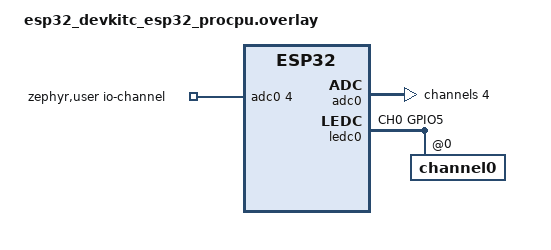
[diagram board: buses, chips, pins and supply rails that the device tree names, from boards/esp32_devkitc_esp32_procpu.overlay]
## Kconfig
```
mainmenu "Brake controller"



config WIFI_SSID
	string "WiFi SSID"
	help
	  SSID of the WiFi network to connect to.

config WIFI_PSK
	string "WiFi Password"
	help
	  WPA2-PSK password for the WiFi network.



config NET_SAMPLE_MQTT_BROKER_HOSTNAME
	string "Hostname of MQTT broker"
	default "test.mosquitto.org"
	help
	  MQTT broker's hostname or IP address.

config NET_SAMPLE_MQTT_BROKER_PORT
	string "MQTT Broker Connection Port"
	default "1883"
	help
	  Port through which the application should connect to the MQTT broker.

config NET_SAMPLE_MQTT_PUB_TOPIC
	string "The MQTT topic the application should publish data to"
	default "brake/state"

config NET_SAMPLE_MQTT_SUB_TOPIC_CMD
	string "The MQTT topic the application will receive commands on"
	default "brake/request"

config NET_SAMPLE_MQTT_PUBLISH_INTERVAL_MS
	int "Interval between MQTT publishes (in ms)"
	default 3
	help
	  This config determines the frequency at which MQTT publishes occur.

choice NET_SAMPLE_MQTT_QOS
	prompt "Quality of Service level used for MQTT publish and subscribe"
	default NET_SAMPLE_MQTT_QOS_1_AT_LEAST_ONCE

config NET_SAMPLE_MQTT_QOS_0_AT_MOST_ONCE
	bool "QoS 0 / At most once delivery"
	help
	  No acknowledgment needed for published message.

config NET_SAMPLE_MQTT_QOS_1_AT_LEAST_ONCE
	bool "QoS 1 / At least once delivery"
	help
	  If acknowledgment expected for published message, duplicate messages permitted.

config NET_SAMPLE_MQTT_QOS_2_EXACTLY_ONCE
	bool "QoS 2 / Exactly once delivery"
	help
	   Acknowledgment expected and message shall be published only once.

endchoice

config NET_SAMPLE_MQTT_PAYLOAD_SIZE
	int "Size of MQTT payload in bytes"
	default 128

source "Kconfig.zephyr"
```

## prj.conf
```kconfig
# Bluetooth
CONFIG_BT=y
CONFIG_BT_PERIPHERAL=y
CONFIG_BT_DEVICE_NAME="BrakeController"
CONFIG_BT_DEVICE_APPEARANCE=0
CONFIG_BT_MAX_CONN=1
CONFIG_BT_ATT_PREPARE_COUNT=2
CONFIG_BT_ZEPHYR_NUS=y
CONFIG_BT_OBSERVER=y
CONFIG_BT_GATT_CLIENT=y

#Enable JSON
CONFIG_JSON_LIBRARY=y

# Enables extension of data packets to be max size
CONFIG_BT_USER_DATA_LEN_UPDATE=y
CONFIG_BT_CTLR_DATA_LENGTH_MAX=251
CONFIG_BT_BUF_ACL_RX_SIZE=251
CONFIG_BT_BUF_ACL_TX_SIZE=251
CONFIG_BT_L2CAP_TX_MTU=247


# Larger MTU so JSON payloads fit in one packet
CONFIG_BT_L2CAP_TX_MTU=247
CONFIG_BT_BUF_ACL_RX_SIZE=251

# JSON
CONFIG_JSON_LIBRARY=y

# ADC
CONFIG_ADC=y

# PWM
CONFIG_PWM=y

# Logging
CONFIG_LOG=y
CONFIG_LOG_DEFAULT_LEVEL=3

# UART
CONFIG_SERIAL=y
CONFIG_UART_INTERRUPT_DRIVEN=y
CONFIG_UART_LINE_CTRL=y

# Stack sizes for nRF52840
CONFIG_MAIN_STACK_SIZE=4096
CONFIG_SYSTEM_WORKQUEUE_STACK_SIZE=2048
```

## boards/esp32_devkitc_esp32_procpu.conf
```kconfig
# Required to get an IP address from DHCP
CONFIG_ESP32_WIFI_STA_AUTO_DHCPV4=y

# Use system heap (instead of runtime) for WiFi
CONFIG_ESP_WIFI_HEAP_SYSTEM=y
CONFIG_HEAP_MEM_POOL_SIZE=51200
```

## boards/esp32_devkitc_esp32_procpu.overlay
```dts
/ {
    zephyr,user {
        io-channels = <&adc0 4>;
    };
};

&adc0 {
    status = "okay";
    #address-cells = <1>;
    #size-cells = <0>;
    channel@4 {
        reg = <4>;
        zephyr,gain = "ADC_GAIN_1_4";
        zephyr,reference = "ADC_REF_INTERNAL";
        zephyr,acquisition-time = <ADC_ACQ_TIME_DEFAULT>;
        zephyr,resolution = <12>;
    };
};

&pinctrl {
    ledc0_custom: ledc0_custom {
        group1 {
            pinmux = <LEDC_CH0_GPIO5>;
            output-enable;
        };
    };
};

&ledc0 {
    pinctrl-0 = <&ledc0_custom>;
    pinctrl-names = "default";
    status = "okay";
    #address-cells = <1>;
    #size-cells = <0>;

    channel0@0 {
        reg = <0x0>;
        timer = <0>;
    };
};
```

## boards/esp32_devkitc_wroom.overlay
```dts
/ {
    zephyr,user {
        io-channels = <&adc0 0>;
    };
};

&adc0 {
    status = "okay";
    #address-cells = <1>;
    #size-cells = <0>;

    channel@0 {
        reg = <0>;
        zephyr,gain = "ADC_GAIN_1_4";
        zephyr,reference = "ADC_REF_INTERNAL";
        zephyr,acquisition-time = <ADC_ACQ_TIME_DEFAULT>;
        zephyr,resolution = <12>;
    };
};

&pinctrl {
    ledc0_custom: ledc0_custom {
        group1 {
            pinmux = <LEDC_CH0_GPIO5>;
            output-enable;
        };
    };
};

&ledc0 {
    pinctrl-0 = <&ledc0_custom>;
    pinctrl-names = "default";
    status = "okay";
    #address-cells = <1>;
    #size-cells = <0>;

    channel0@0 {
        reg = <0x0>;
        timer = <0>;
    };
};
```

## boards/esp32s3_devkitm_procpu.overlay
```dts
&wifi {
    status = "okay";
};

/ {
	zephyr,user {
		io-channels = <&adc0 0>;
	};
};

&adc0 {
	status = "okay";
	#address-cells = <1>;
	#size-cells = <0>;

	channel@0 {
		reg = <0>;
		zephyr,gain = "ADC_GAIN_1_4";
		zephyr,reference = "ADC_REF_INTERNAL";
		zephyr,acquisition-time = <ADC_ACQ_TIME_DEFAULT>;
		zephyr,resolution = <12>;
	};
};


&pinctrl {
    ledc0_custom: ledc0_custom {
        group1 {
            pinmux = <LEDC_CH0_GPIO5>;
            output-enable;
        };
    };
};

&ledc0 {
    pinctrl-0 = <&ledc0_custom>;
    pinctrl-names = "default";
    status = "okay";
    #address-cells = <1>;
    #size-cells = <0>;

    channel0@0 {
        reg = <0x0>;
        timer = <0>;
    };
};
```

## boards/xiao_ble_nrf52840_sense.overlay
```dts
/ {
    zephyr,user {
        /* AIN1 = P0.03 (XIAO pin A1) – potentiometer wiper */
        io-channels = <&adc 1>;
    };

    chosen {
        zephyr,shell-uart = &uart0;
    };
};

&adc {
    status = "okay";
    #address-cells = <1>;
    #size-cells = <0>;

    channel@1 {
        reg = <1>;
        zephyr,gain = "ADC_GAIN_1_6";
        zephyr,reference = "ADC_REF_INTERNAL";
        zephyr,acquisition-time = <ADC_ACQ_TIME_DEFAULT>;
        zephyr,input-positive = <NRF_SAADC_AIN1>; /* P0.03 */
        zephyr,resolution = <12>;
    };
};

/* PWM0 on P0.02 (XIAO pin A0/D0) – servo signal */
&pwm0 {
    status = "okay";
    pinctrl-0 = <&pwm0_default>;
    pinctrl-1 = <&pwm0_sleep>;
    pinctrl-names = "default", "sleep";
};

&pinctrl {
    pwm0_default: pwm0_default {
        group1 {
            psels = <NRF_PSEL(PWM_OUT0, 0, 2)>; /* P0.02 */
        };
    };
    pwm0_sleep: pwm0_sleep {
        group1 {
            psels = <NRF_PSEL(PWM_OUT0, 0, 2)>;
            low-power-enable;
        };
    };
};
```

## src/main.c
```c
#include <zephyr/kernel.h>
#include <zephyr/logging/log.h>

#include "ble_service.h"
#include "brake.h"
#include "request_handler.h"
#include "uart.h"

LOG_MODULE_REGISTER(main, LOG_LEVEL_INF);

int main(void)
{
    char tx_buf[MSG_SIZE] = { 0 };
    int ret = 0;

    printk("Starting in...\n");
    for (int i = 5; i > 0; i--) {
        printk("%i\n", i);
        k_sleep(K_MSEC(1000));
    }

    printk("BRAKE CONTROLLER\n");

    printk("Initialising brake\n");
    int error = brake_init();
    if (error) {
        printk("Brake init failed [error: %i]\n", error);
        return error;
    }
    brake_set(0);

    printk("Initialising UART\n");
    error = uart_init();
    if (error) {
        printk("UART init failed [error: %i]\n", error);
        return error;
    }

    printk("Initialising BLE\n");
    error = ble_service_init();
    if (error) {
        printk("BLE init failed [error: %i]\n", error);
        return error;
    }

    printk("Waiting for BLE connection…\n");

    struct brake_request request = { 0 };

    while (1) {
        if (k_msgq_get(&uart_msgq, &tx_buf, K_NO_WAIT) == 0) {
            printk("UART Received: %s\n", &tx_buf);
            error = handle_request(tx_buf, sizeof(tx_buf));
            if (error) {
                LOG_WRN("UART handle_request() failed");
            }
        }

        if (!ble_connected) {
            //printk("Not connected. Trying again\n");
            k_msleep(500);
            continue;
        }

        ret = k_msgq_get(&requests, &request, K_MSEC(600));
        if (ret != 0) {
            (void)ble_service_notify_state();
            continue;
        }

        printk("Received request from %s (percentage: %i)\n",
               request.sender, request.percentage);

        /* Apply the requested brake percentage and notify */
        (void)brake_set(request.percentage);
        (void)ble_service_notify_state();
    }

    return 0;
}
```

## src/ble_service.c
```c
#include <zephyr/logging/log.h>
LOG_MODULE_REGISTER(ble_service, LOG_LEVEL_DBG);

#include <zephyr/kernel.h>
#include <zephyr/bluetooth/bluetooth.h>
#include <zephyr/bluetooth/hci.h>
#include <zephyr/bluetooth/conn.h>
#include <zephyr/bluetooth/gatt.h>
#include <zephyr/bluetooth/services/nus.h>
#include <zephyr/data/json.h>
#include <string.h>

#include "ble_service.h"
#include "request_handler.h"
#include "brake.h"

#define DEVICE_NAME     CONFIG_BT_DEVICE_NAME
#define DEVICE_NAME_LEN (sizeof(DEVICE_NAME) - 1)

/* connection status flag */
volatile bool ble_connected = false;

static struct bt_conn *current_conn = NULL;
static struct bt_gatt_exchange_params mtu_params;

/* nus notifications enabled flag */
static bool notifications_enabled = false;

/* work item. defers bt_nus_send() out of nus/ble callback context */
static struct k_work notify_work;

/* tx buffer for json-encoded brake state */
static char tx_buf[128];

struct brake_state_json {
    char *message_type;
    int   data;
};

static const struct json_obj_descr brake_state_descr[] = {
    JSON_OBJ_DESCR_PRIM(struct brake_state_json, message_type, JSON_TOK_STRING),
    JSON_OBJ_DESCR_PRIM(struct brake_state_json, data,         JSON_TOK_NUMBER),
};

static const struct bt_data ad[] = {
    BT_DATA_BYTES(BT_DATA_FLAGS, (BT_LE_AD_GENERAL | BT_LE_AD_NO_BREDR)),
    BT_DATA(BT_DATA_NAME_COMPLETE, DEVICE_NAME, DEVICE_NAME_LEN),
};

static const struct bt_data sd[] = {
    BT_DATA_BYTES(BT_DATA_UUID128_ALL, BT_UUID_NUS_SRV_VAL),
};

static void do_notify(struct k_work *work)
{
    ARG_UNUSED(work);

    if (!notifications_enabled) {
        return;
    }

    struct brake_state_json state = {
        .message_type = "brake state",
        .data         = brake_get(),
    };

    int rc = json_obj_encode_buf(
                brake_state_descr,
                ARRAY_SIZE(brake_state_descr),
                &state,
                tx_buf,
                sizeof(tx_buf));
    if (rc != 0) {
        LOG_ERR("JSON encode failed [%d]", rc);
        return;
    }

    rc = bt_nus_send(NULL, tx_buf, strlen(tx_buf));
    if (rc < 0 && rc != -EAGAIN && rc != -ENOTCONN) {
        LOG_ERR("NUS send failed [%d]", rc);
    } else if (rc == 0) {
        LOG_INF("NUS sent: %s", tx_buf);
    }
}

static void on_nus_notif_enabled(bool enabled, void *ctx)
{
    ARG_UNUSED(ctx);
    notifications_enabled = enabled;
    LOG_INF("NUS notifications %s", enabled ? "enabled" : "disabled");

    /* Send an immediate state update when the central subscribes */
    if (enabled) {
        k_work_submit(&notify_work);
    }
}

static void on_nus_received(struct bt_conn *conn, const void *data,
                            uint16_t len, void *ctx)
{
    ARG_UNUSED(conn);
    ARG_UNUSED(ctx);

    /* Copy into a null-terminated buffer for handle_request() */
    char payload[256];
    if (len >= sizeof(payload)) {
        LOG_WRN("RX too large (%u bytes), truncating", len);
        len = sizeof(payload) - 1;
    }
    memcpy(payload, data, len);
    payload[len] = '\0';

    LOG_INF("NUS RX: %s", payload);
    (void)handle_request(payload, (size_t)len + 1);
}

static struct bt_nus_cb nus_cb = {
    .notif_enabled = on_nus_notif_enabled,
    .received      = on_nus_received,
};

static void mtu_exchange_cb(struct bt_conn *conn, uint8_t att_err,
                            struct bt_gatt_exchange_params *params)
{
    if (att_err == 0) {
        LOG_INF("MTU exchanged: %u", bt_gatt_get_mtu(conn));
    } else {
        LOG_WRN("MTU exchange failed (err %u)", att_err);
    }
}

static void on_connected(struct bt_conn *conn, uint8_t err)
{
    if (err) {
        LOG_ERR("BLE connection failed (err %u)", err);
        return;
    }

    current_conn = bt_conn_ref(conn);
    ble_connected = true;
    LOG_INF("BLE central connected");

    /* Request a larger MTU so JSON payloads fit in one packet */
    mtu_params.func = mtu_exchange_cb;
    bt_gatt_exchange_mtu(conn, &mtu_params);
}

static void on_disconnected(struct bt_conn *conn, uint8_t reason)
{
    LOG_INF("BLE central disconnected (reason 0x%02x)", reason);

    if (current_conn) {
        bt_conn_unref(current_conn);
        current_conn = NULL;
    }

    ble_connected         = false;
    notifications_enabled = false;

    /* Restart advertising */
    int rc = bt_le_adv_start(BT_LE_ADV_CONN_FAST_1,
                             ad, ARRAY_SIZE(ad),
                             sd, ARRAY_SIZE(sd));
    if (rc != 0) {
        LOG_ERR("Failed to restart advertising [%d]", rc);
    } else {
        LOG_INF("Advertising restarted");
    }
}

BT_CONN_CB_DEFINE(conn_callbacks) = {
    .connected    = on_connected,
    .disconnected = on_disconnected,
};

int ble_service_notify_state(void)
{
    k_work_submit(&notify_work);
    return 0;
}

int ble_service_init(void)
{
    int rc;

    k_work_init(&notify_work, do_notify);

    /* Register NUS callbacks before enabling BT */
    rc = bt_nus_cb_register(&nus_cb, NULL);
    if (rc != 0) {
        LOG_ERR("Failed to register NUS callbacks [%d]", rc);
        return rc;
    }

    rc = bt_enable(NULL);
    if (rc != 0) {
        LOG_ERR("Bluetooth enable failed [%d]", rc);
        return rc;
    }
    LOG_INF("Bluetooth initialised");

    rc = bt_le_adv_start(BT_LE_ADV_CONN_FAST_1,
                         ad, ARRAY_SIZE(ad),
                         sd, ARRAY_SIZE(sd));
    if (rc != 0) {
        LOG_ERR("Advertising start failed [%d]", rc);
        return rc;
    }

    LOG_INF("Advertising as \"%s\"", DEVICE_NAME);
    return 0;
}
```

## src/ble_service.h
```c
#ifndef __BLE_SERVICE_H__
#define __BLE_SERVICE_H__

#include <stdbool.h>

int ble_service_init(void);

int ble_service_notify_state(void);

extern volatile bool ble_connected; /* true while a central is connected. */

#endif /* __BLE_SERVICE_H__ */
```

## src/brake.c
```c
#include <zephyr/kernel.h>
#include <zephyr/logging/log.h>
#include <zephyr/sys/atomic.h>
#include <zephyr/device.h>
#include <zephyr/drivers/pwm.h>
#include <zephyr/drivers/adc.h>
#include "brake.h"

LOG_MODULE_REGISTER(brake_controller, LOG_LEVEL_NONE);

#define BRAKE_THREAD_STACK_SIZE 2048
#define BRAKE_THREAD_PRIORITY   5

K_THREAD_STACK_DEFINE(brake_thread_stack, BRAKE_THREAD_STACK_SIZE);
static struct k_thread brake_thread_data;
static k_tid_t brake_tid = NULL;

#define PWM_NODE    DT_NODELABEL(pwm0)
#define PWM_CHANNEL 0
#define PWM_PERIOD  PWM_MSEC(20)

#define MILLIVOLTS_TO_PERCENTAGE_MAX 1700
#define MILLIVOLTS_TO_PERCENTAGE_MIN 950

static const struct device *const servo = DEVICE_DT_GET(PWM_NODE);

static const struct adc_dt_spec pot = ADC_DT_SPEC_GET(DT_PATH(zephyr_user));

/* desired brake percentage set with brake_set */
static atomic_t desired_percentage = ATOMIC_INIT(0);
static atomic_t actual_percentage = ATOMIC_INIT(0);

static uint32_t percentage_to_pulse(int pct)
{
    return (pct != 0) ? PWM_PERIOD / 20 : 0;
}

static uint32_t millivolts_to_percentage(uint32_t millivolts)
{
    uint32_t ret = 0;
    LOG_INF("Recieved: %i\n", millivolts);

    if (millivolts <= MILLIVOLTS_TO_PERCENTAGE_MIN) {
        ret = 0;
        LOG_INF("ret: %i", ret);
        return ret;
    }

    if (millivolts >= MILLIVOLTS_TO_PERCENTAGE_MAX) {
        ret = 100;
        LOG_INF("ret: %i", ret);
        return ret;
    }

    ret = ((millivolts - MILLIVOLTS_TO_PERCENTAGE_MIN) * 100) / (MILLIVOLTS_TO_PERCENTAGE_MAX - MILLIVOLTS_TO_PERCENTAGE_MIN);
    LOG_INF("ret: %i", ret);
    return ret;
}

static void brake_thread(void *arg1, void *arg2, void *arg3)
{
    int error = 0;
    uint32_t count = 0;
    uint16_t adc_buf;
    struct adc_sequence sequence = {
        .buffer      = &adc_buf,
        .buffer_size = sizeof(adc_buf),
    };

    (void)adc_sequence_init_dt(&pot, &sequence);

    while (1) {
        int32_t val_raw = 0, val_mv = 0;
        int brake_pct = (int)atomic_get(&desired_percentage);

        LOG_INF("ADC reading[%u]: %s ch%d",
                count++, pot.dev->name, pot.channel_id);

        error = adc_read_dt(&pot, &sequence);
        if (error < 0) {
            LOG_WRN("Could not read ADC (%d)", error);
            k_sleep(K_MSEC(100));
            continue;
        }

        val_raw = pot.channel_cfg.differential
                ? (int32_t)((int16_t)adc_buf)
                : (int32_t)adc_buf;
        val_mv = val_raw;

        error = adc_raw_to_millivolts_dt(&pot, &val_mv);
        if (error < 0) {
            LOG_INF("raw=%" PRId32 " (mV unavailable)", val_raw);
        } else {
            LOG_INF("raw=%" PRId32 " = %" PRId32 " mV", val_raw, val_mv);
        }

        uint32_t pulse = percentage_to_pulse(brake_pct);
        (void) atomic_set(&actual_percentage, (atomic_val_t)millivolts_to_percentage(val_mv));

        error = pwm_set(servo, PWM_CHANNEL, PWM_PERIOD, pulse, 0);
        if (error) {
            LOG_ERR("pwm_set failed [%d]", error);
        }

        k_sleep(K_MSEC(100));
    }
}

int brake_init(void)
{
    int error = 0;

    if (!device_is_ready(servo)) {
        LOG_ERR("PWM servo device is not ready");
        return -ENODEV;
    }

    if (!adc_is_ready_dt(&pot)) {
        LOG_ERR("Potentiometer ADC device is not ready");
        return -ENODEV;
    }

    error = adc_channel_setup_dt(&pot);
    if (error) {
        LOG_ERR("Could not setup ADC channel (%d)", error);
        return error;
    }

    if (brake_tid != NULL) {
        LOG_WRN("brake_init() called again – thread already running");
        return -EALREADY;
    }

    brake_tid = k_thread_create(
        &brake_thread_data,
        brake_thread_stack,
        K_THREAD_STACK_SIZEOF(brake_thread_stack),
        brake_thread,
        NULL, NULL, NULL,
        BRAKE_THREAD_PRIORITY, 0, K_NO_WAIT);

    if (brake_tid == NULL) {
        LOG_ERR("Failed to create brake thread");
        return -ENOMEM;
    }

    k_thread_name_set(brake_tid, "brake_ctrl");
    LOG_INF("Brake thread started (tid=%p)", brake_tid);

    return 0;
}

int brake_stop(void)
{
    if (brake_tid == NULL) {
        LOG_WRN("brake_stop() called but thread is not running");
        return -EINVAL;
    }

    k_thread_abort(brake_tid);

    int error = k_thread_join(brake_tid, K_MSEC(2000));
    if (error) {
        LOG_ERR("Thread did not stop cleanly (%d)", error);
        return error;
    }

    brake_tid = NULL;
    LOG_INF("Brake thread stopped");
    return 0;
}

int brake_set(int percentage)
{
    return (int)atomic_set(&desired_percentage, (atomic_val_t)percentage);
}

int brake_get(void)
{
    return (int)atomic_get(&actual_percentage);
}
```

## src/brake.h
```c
#ifndef __BRAKE_H__
#define __BRAKE_H__


/* initialise brake and appropriate devices */
int brake_init(void);

/* set the desired brake percentage. returns old percentage */
int brake_set(int percentage);

/* reads actual brake percentage */
int brake_get(void);

#endif /* __BRAKE_H__ */
```

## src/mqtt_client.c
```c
#include <zephyr/logging/log.h>
LOG_MODULE_REGISTER(app_mqtt, LOG_LEVEL_DBG);

#include <zephyr/kernel.h>
#include <zephyr/net/socket.h>
#include <zephyr/net/mqtt.h>
#include <zephyr/data/json.h>
#include <zephyr/random/random.h>

#include "request_handler.h"
#include "mqtt_client.h"
#include "brake.h"

/* Buffers for MQTT client */
static uint8_t rx_buffer[CONFIG_NET_SAMPLE_MQTT_PAYLOAD_SIZE];
static uint8_t tx_buffer[CONFIG_NET_SAMPLE_MQTT_PAYLOAD_SIZE];

/* MQTT payload buffer */
static uint8_t payload_buf[CONFIG_NET_SAMPLE_MQTT_PAYLOAD_SIZE];

/* MQTT broker details */
static struct sockaddr_storage broker;

/* Socket descriptor */
static struct zsock_pollfd fds[1];
static int nfds;


/* semaphore used to request publishing in app_mqtt_run */
K_SEM_DEFINE(mqtt_publish_req, 0, 1);


/* JSON brake state format */
struct brake_state {
    char *message_type;     /* should always be "brake state" */
    int data;               /* brake percentage */
};

static const struct json_obj_descr brake_state_json[] = {
    JSON_OBJ_DESCR_PRIM(struct brake_state, message_type, JSON_TOK_STRING),
    JSON_OBJ_DESCR_PRIM(struct brake_state, data, JSON_TOK_NUMBER),
};

/* MQTT connectivity status flag */
bool mqtt_connected;

/* MQTT client ID buffer */
static uint8_t client_id[50];


static void prepare_fds(struct mqtt_client *client)
{
    if (client->transport.type == MQTT_TRANSPORT_NON_SECURE) {
        fds[0].fd = client->transport.tcp.sock;
    }

    fds[0].events = ZSOCK_POLLIN;
    nfds = 1;
}

static void clear_fds(void)
{
    nfds = 0;
}

/** Initialise the MQTT client ID as the board name with random hex postfix */
static void init_mqtt_client_id(void)
{
    snprintk(client_id, sizeof(client_id), CONFIG_BOARD"_%x", (uint8_t)sys_rand32_get());
}

static inline void on_mqtt_connect(void)
{
    mqtt_connected = true;
    //device_write_led(LED_NET, LED_ON);
    LOG_INF("Connected to MQTT broker!");
    LOG_INF("Hostname: %s", CONFIG_NET_SAMPLE_MQTT_BROKER_HOSTNAME);
    LOG_INF("Client ID: %s", client_id);
    LOG_INF("Port: %s", CONFIG_NET_SAMPLE_MQTT_BROKER_PORT);
    //LOG_INF("TLS: %s",
    //  IS_ENABLED(CONFIG_MQTT_LIB_TLS) ? "Enabled" : "Disabled");
}

static inline void on_mqtt_disconnect(void)
{
    mqtt_connected = false;
    clear_fds();
    //device_write_led(LED_NET, LED_OFF);
    LOG_INF("Disconnected from MQTT broker");
}

//static void handle_

/** Called when an MQTT payload is received.
 *  Reads the payload and calls the commands
 *  handler if a payloads is received on the
 *  command topic
 */
static void on_mqtt_publish(struct mqtt_client *const client, const struct mqtt_evt *evt)
{
    int rc;
    uint8_t payload[CONFIG_NET_SAMPLE_MQTT_PAYLOAD_SIZE];

    rc = mqtt_read_publish_payload(client, payload,
                    CONFIG_NET_SAMPLE_MQTT_PAYLOAD_SIZE);
    if (rc < 0) {
        LOG_ERR("Failed to read received MQTT payload [%d]", rc);
        return;
    }
    /* Place null terminator at end of payload buffer */
    payload[rc] = '\0';

    LOG_INF("MQTT payload received!");
    LOG_INF("topic: '%s', payload: %s",
        evt->param.publish.message.topic.topic.utf8, payload);

    /* If the topic is a command, call the command handler  */
    if (strcmp(evt->param.publish.message.topic.topic.utf8,
            CONFIG_NET_SAMPLE_MQTT_SUB_TOPIC_CMD) == 0) {
        (void) handle_request(payload, sizeof(payload));
    }
}

/** Handler for asynchronous MQTT events */
static void mqtt_event_handler(struct mqtt_client *const client, const struct mqtt_evt *evt)
{
    switch (evt->type) {
    case MQTT_EVT_CONNACK:
        if (evt->result != 0) {
            LOG_ERR("MQTT Event Connect failed [%d]", evt->result);
            break;
        }
        on_mqtt_connect();
        break;

    case MQTT_EVT_DISCONNECT:
        on_mqtt_disconnect();
        break;

    case MQTT_EVT_PINGRESP:
        LOG_INF("PINGRESP packet");
        break;

    case MQTT_EVT_PUBACK:
        if (evt->result != 0) {
            LOG_ERR("MQTT PUBACK error [%d]", evt->result);
            break;
        }

        LOG_INF("PUBACK packet ID: %u", evt->param.puback.message_id);
        break;

    case MQTT_EVT_PUBREC:
        if (evt->result != 0) {
            LOG_ERR("MQTT PUBREC error [%d]", evt->result);
            break;
        }

        LOG_INF("PUBREC packet ID: %u", evt->param.pubrec.message_id);

        const struct mqtt_pubrel_param rel_param = {
            .message_id = evt->param.pubrec.message_id
        };

        mqtt_publish_qos2_release(client, &rel_param);
        break;

    case MQTT_EVT_PUBREL:
        if (evt->result != 0) {
            LOG_ERR("MQTT PUBREL error [%d]", evt->result);
            break;
        }

        LOG_INF("PUBREL packet ID: %u", evt->param.pubrel.message_id);

        const struct mqtt_pubcomp_param rec_param = {
            .message_id = evt->param.pubrel.message_id
        };

        mqtt_publish_qos2_complete(client, &rec_param);
        break;

    case MQTT_EVT_PUBCOMP:
        if (evt->result != 0) {
            LOG_ERR("MQTT PUBCOMP error %d", evt->result);
            break;
        }

        LOG_INF("PUBCOMP packet ID: %u", evt->param.pubcomp.message_id);
        break;

    case MQTT_EVT_SUBACK:
        if (evt->result == MQTT_SUBACK_FAILURE) {
            LOG_ERR("MQTT SUBACK error [%d]", evt->result);
            break;
        }

        LOG_INF("SUBACK packet ID: %d", evt->param.suback.message_id);
        break;

    case MQTT_EVT_PUBLISH:
        const struct mqtt_publish_param *p = &evt->param.publish;

        LOG_INF("Publish event triggered");

        if (p->message.topic.qos == MQTT_QOS_1_AT_LEAST_ONCE) {
            const struct mqtt_puback_param ack_param = {
                .message_id = p->message_id
            };
            mqtt_publish_qos1_ack(client, &ack_param);
        } else if (p->message.topic.qos == MQTT_QOS_2_EXACTLY_ONCE) {
            const struct mqtt_pubrec_param rec_param = {
                .message_id = p->message_id
            };
            mqtt_publish_qos2_receive(client, &rec_param);
        }

        on_mqtt_publish(client, evt);
        break;

    default:
        break;
    }
}

/** Poll the MQTT socket for received data */
static int poll_mqtt_socket(struct mqtt_client *client, int timeout)
{
    int rc;

    prepare_fds(client);

    if (nfds <= 0) {
        return -EINVAL;
    }

    rc = zsock_poll(fds, nfds, timeout);
    if (rc < 0) {
        LOG_ERR("Socket poll error [%d]", rc);
    }

    return rc;
}

/** Retrieves a sensor sample and encodes it in JSON format */
static int get_mqtt_payload(struct mqtt_binstr *payload)
{
    int rc = 0;
    int brake_percentage = 0;
    struct brake_state state;

    brake_percentage = brake_get();

    state.message_type = "brake state";
    state.data = brake_percentage;

    rc = json_obj_encode_buf(
            brake_state_json,
            ARRAY_SIZE(brake_state_json),
            &state,
            payload_buf,
            CONFIG_NET_SAMPLE_MQTT_PAYLOAD_SIZE);
    if (rc != 0) {
        LOG_ERR("Failed to encode JSON object [%d]", rc);
        return rc;
    }

    payload->data = payload_buf;
    payload->len = strlen(payload->data);

    return rc;
}

int app_mqtt_publish(struct mqtt_client *client)
{
    int rc;
    struct mqtt_publish_param param;
    struct mqtt_binstr payload;
    static uint16_t msg_id = 1;
    struct mqtt_topic topic = {
        .topic = {
            .utf8 = CONFIG_NET_SAMPLE_MQTT_PUB_TOPIC,
            .size = strlen(topic.topic.utf8)
        },
        .qos = IS_ENABLED(CONFIG_NET_SAMPLE_MQTT_QOS_0_AT_MOST_ONCE) ? 0 :
            (IS_ENABLED(CONFIG_NET_SAMPLE_MQTT_QOS_1_AT_LEAST_ONCE) ? 1 : 2)
    };

    rc = get_mqtt_payload(&payload);
    if (rc != 0) {
        LOG_ERR("Failed to get MQTT payload [%d]", rc);
        return rc;
    }

    param.message.topic = topic;
    param.message.payload = payload;
    param.message_id = msg_id++;
    param.dup_flag = 0;
    param.retain_flag = 0;

    rc = mqtt_publish(client, &param);
    if (rc != 0) {
        LOG_ERR("MQTT Publish failed [%d]", rc);
        return rc;
    }

    LOG_INF("Published to topic '%s', QoS %d [message id %i]",
            param.message.topic.topic.utf8,
            param.message.topic.qos,
            param.message_id);

    return rc;
}

int app_mqtt_subscribe(struct mqtt_client *client)
{
    int rc;
    struct mqtt_topic sub_topics[] = {
        {
            .topic = {
                .utf8 = CONFIG_NET_SAMPLE_MQTT_SUB_TOPIC_CMD,
                .size = strlen(sub_topics->topic.utf8)
            },
            .qos = IS_ENABLED(CONFIG_NET_SAMPLE_MQTT_QOS_0_AT_MOST_ONCE) ? 0 :
                (IS_ENABLED(CONFIG_NET_SAMPLE_MQTT_QOS_1_AT_LEAST_ONCE) ? 1 : 2)
        }
    };
    const struct mqtt_subscription_list sub_list = {
        .list = sub_topics,
        .list_count = ARRAY_SIZE(sub_topics),
        .message_id = 5841u
    };

    LOG_INF("Subscribing to %d topic(s)", sub_list.list_count);

    rc = mqtt_subscribe(client, &sub_list);
    if (rc != 0) {
        LOG_ERR("MQTT Subscribe failed [%d]", rc);
    }

    return rc;
}

/** Process incoming MQTT data and keep the connection alive*/
int app_mqtt_process(struct mqtt_client *client)
{
    int rc;

    rc = poll_mqtt_socket(client, mqtt_keepalive_time_left(client));
    if (rc != 0) {
        if (fds[0].revents & ZSOCK_POLLIN) {
            /* MQTT data received */
            rc = mqtt_input(client);
            if (rc != 0) {
                LOG_ERR("MQTT Input failed [%d]", rc);
                return rc;
            }
            /* Socket error */
            if (fds[0].revents & (ZSOCK_POLLHUP | ZSOCK_POLLERR)) {
                LOG_ERR("MQTT socket closed / error");
                return -ENOTCONN;
            }
        }
    } else {
        /* Socket poll timed out, time to call mqtt_live() */
        rc = mqtt_live(client);
        if (rc != 0) {
            LOG_ERR("MQTT Live failed [%d]", rc);
            return rc;
        }
    }

    return 0;
}

void app_mqtt_run(struct mqtt_client *client)
{
    bool internal_elapsed = false, publish_request = false;
    int64_t last_published = k_uptime_get();
    int rc = 0;

    /* Subscribe to MQTT topics */
    app_mqtt_subscribe(client);

    /* Thread will primarily remain in this loop */
    while (mqtt_connected) {
        /* process any input that may have been received, and keep connection alive */
        rc = app_mqtt_process(client);
        if (rc != 0) {
            break;
        }

        internal_elapsed = k_uptime_get() - last_published >= CONFIG_NET_SAMPLE_MQTT_PUBLISH_INTERVAL_MS;
        publish_request = (k_sem_take(&mqtt_publish_req, K_NO_WAIT) == 0);

        if (internal_elapsed || publish_request) {
            printk("Publishing\n");
            app_mqtt_publish(client);
            last_published = k_uptime_get();
        }
    }
    /* Gracefully close connection */
    mqtt_disconnect(client, NULL);
}

void app_mqtt_connect(struct mqtt_client *client)
{
    int rc = 0;

    mqtt_connected = false;

    /* Block until MQTT CONNACK event callback occurs */
    while (!mqtt_connected) {
        rc = mqtt_connect(client);
        if (rc != 0) {
            LOG_ERR("MQTT Connect failed [%d]", rc);
            k_msleep(MSECS_WAIT_RECONNECT);
            continue;
        }

        /* Poll MQTT socket for response */
        rc = poll_mqtt_socket(client, MSECS_NET_POLL_TIMEOUT);
        if (rc > 0) {
            mqtt_input(client);
        }

        if (!mqtt_connected) {
            mqtt_abort(client);
        }
    }
}

int app_mqtt_init(struct mqtt_client *client)
{
    int rc;
    uint8_t broker_ip[NET_IPV4_ADDR_LEN];
    struct sockaddr_in *broker4;
    struct addrinfo *result;
    const struct addrinfo hints = {
        .ai_family = AF_INET,
        .ai_socktype = SOCK_STREAM
    };

    /* Resolve IP address of MQTT broker */
    rc = getaddrinfo(CONFIG_NET_SAMPLE_MQTT_BROKER_HOSTNAME,
                CONFIG_NET_SAMPLE_MQTT_BROKER_PORT, &hints, &result);
    if (rc != 0) {
        LOG_ERR("Failed to resolve broker hostname [%s]", gai_strerror(rc));
        return -EIO;
    }
    if (result == NULL) {
        LOG_ERR("Broker address not found");
        return -ENOENT;
    }

    broker4 = (struct sockaddr_in *)&broker;
    broker4->sin_addr.s_addr = ((struct sockaddr_in *)result->ai_addr)->sin_addr.s_addr;
    broker4->sin_family = AF_INET;
    broker4->sin_port = ((struct sockaddr_in *)result->ai_addr)->sin_port;
    freeaddrinfo(result);

    /* Log resolved IP address */
    inet_ntop(AF_INET, &broker4->sin_addr.s_addr, broker_ip, sizeof(broker_ip));
    LOG_INF("Connecting to MQTT broker @ %s", broker_ip);

    /* MQTT client configuration */
    init_mqtt_client_id();
    mqtt_client_init(client);
    client->broker = &broker;
    client->evt_cb = mqtt_event_handler;
    client->client_id.utf8 = client_id;
    client->client_id.size = strlen(client->client_id.utf8);
    client->password = NULL;
    client->user_name = NULL;
    client->protocol_version = MQTT_VERSION_3_1_1;

    /* MQTT buffers configuration */
    client->rx_buf = rx_buffer;
    client->rx_buf_size = sizeof(rx_buffer);
    client->tx_buf = tx_buffer;
    client->tx_buf_size = sizeof(tx_buffer);

    return rc;
}
```

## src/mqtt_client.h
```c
#ifndef __MQTT_CLIENT_H__
#define __MQTT_CLIENT_H__

/** MQTT connection timeouts */
#define MSECS_NET_POLL_TIMEOUT	5000
#define MSECS_WAIT_RECONNECT	1000

/** MQTT connection status flag */
extern bool mqtt_connected;

/** semaphore used to request publishing in app_mqtt_run */
extern struct k_sem mqtt_publish_req;

/**
 *  @brief Initialise the MQTT client & broker configuration
 */
int app_mqtt_init(struct mqtt_client *client);

/**
 *  @brief Blocking function that establishes connectivity to the MQTT broker
 */
void app_mqtt_connect(struct mqtt_client *client);

/**
 *  @brief  Subscribes to user-defined MQTT topics and continuously
 *          processes incoming data while the MQTT connection is active
 */
void app_mqtt_run(struct mqtt_client *client);

/**
 *  @brief   Subscribe to user-defined MQTT topics
 */
int app_mqtt_subscribe(struct mqtt_client *client);

/**
 *  @brief  Publish MQTT payload
 */
int app_mqtt_publish(struct mqtt_client *client);

#endif /* __MQTT_CLIENT_H__ */
```

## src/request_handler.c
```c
#include <zephyr/kernel.h>
#include <zephyr/logging/log.h>
#include <zephyr/data/json.h>
#include <string.h>

#include "request_handler.h"

LOG_MODULE_REGISTER(request_handler, LOG_LEVEL_INF);

K_MSGQ_DEFINE(requests, sizeof(struct brake_request), 10, 1);

/* JSON description of brake request and struct used to parse JSON*/
struct brake_request_json_format {
    char *message_type;
    char *sender;
    int percentage;
};

static const struct json_obj_descr brake_request_json[] = {
    JSON_OBJ_DESCR_PRIM(struct brake_request_json_format, message_type, JSON_TOK_STRING),
    JSON_OBJ_DESCR_PRIM(struct brake_request_json_format, sender, JSON_TOK_STRING),
    JSON_OBJ_DESCR_PRIM(struct brake_request_json_format, percentage, JSON_TOK_NUMBER),
};


int handle_request(char *request, size_t size) {
    struct brake_request_json_format format = { 0 };
    struct brake_request br = { 0 };
    size_t length = 0;
    int ret = 0;

    length = strnlen(request, size);

    /* attempt to parse json */
    ret = json_obj_parse(
            request, length,
            brake_request_json, ARRAY_SIZE(brake_request_json),
            &format);
    if (ret < 0) {
        LOG_WRN("json_obj_parse failed to parse %*s", length, request);
        return -1;
    }

    /* copy format to brake request struct */
    (void) strncpy(br.message_type, format.message_type, sizeof(br.message_type));
    if (br.message_type[sizeof(br.message_type) - 1] != '\0') {
        LOG_ERR("Request message type string too large");
        return -1;
    }

    (void) strncpy(br.sender, format.sender, sizeof(br.sender));
    if (br.sender[sizeof(br.sender) - 1] != '\0') {
        LOG_ERR("Request sender string too large");
        return -1;
    }

    br.percentage = format.percentage;

    /* log received message */
    LOG_INF("Request parsed: {message type: %s, sender: %s, percentage: %i}",
            format.message_type, format.sender, format.percentage);

    /* check message type */
    if (strcmp(format.message_type, "brake request") != 0) {
        LOG_WRN("Bad message type");
        return -1;
    } 

    /* attempt to queue request */
    ret = k_msgq_put(&requests, &br, K_NO_WAIT);
    if (ret != 0) {
        LOG_ERR("Failed to queue request");
        return -1;
    }

    return 0;
}
```

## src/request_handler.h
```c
#ifndef __REQUEST_HANDLER__
#define __REQUEST_HANDLER__

#include <zephyr/kernel.h>

struct brake_request {
    char message_type[64];
    char sender[64];
    int percentage;
};

extern struct k_msgq requests;

int handle_request(char *request, size_t size);

#endif /* __REQUEST_HANDLER__ */
```

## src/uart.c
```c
#include <zephyr/kernel.h>
#include <zephyr/device.h>
#include <zephyr/drivers/uart.h>
#include <zephyr/logging/log.h>
#include <string.h>

#include "uart.h"

LOG_MODULE_REGISTER(brake_uart, LOG_LEVEL_INF);

/* change this to any other UART peripheral if desired */
#define UART_DEVICE_NODE DT_CHOSEN(zephyr_shell_uart)

K_MSGQ_DEFINE(uart_msgq, MSG_SIZE, 10, 1);

static const struct device *const uart_dev = DEVICE_DT_GET(UART_DEVICE_NODE);

/* receive buffer used in UART ISR callback */
static char rx_buf[MSG_SIZE];
static int rx_buf_pos;

/*
 * Read characters from UART until line end is detected. Afterwards push the
 * data to the message queue.
 */
static void serial_cb(const struct device *dev, void *user_data)
{
	uint8_t c = 0;
    int ret = 0;

	if (!uart_irq_update(uart_dev)) {
		return;
	}

	if (!uart_irq_rx_ready(uart_dev)) {
		return;
	}

	/* read until FIFO empty */
	while (uart_fifo_read(uart_dev, &c, 1) == 1) {
		if ((c == '\n' || c == '\r') && rx_buf_pos > 0) {
			/* terminate string */
			rx_buf[rx_buf_pos] = '\0';

			/* if queue is full, message is silently dropped */
			ret = k_msgq_put(&uart_msgq, &rx_buf, K_NO_WAIT);
            if (ret != 0) {
                LOG_WRN("Message dropped: %s", rx_buf);
            } else {
                LOG_INF("Message received: %s", rx_buf);
            }

			/* reset the buffer (it was copied to the msgq) */
			rx_buf_pos = 0;
		} else if (rx_buf_pos < (sizeof(rx_buf) - 1)) {
			rx_buf[rx_buf_pos++] = c;
		}
		/* else: characters beyond buffer size are dropped */
	}
}

void print_uart(char *buf)
{
	int msg_len = strlen(buf);

	for (int i = 0; i < msg_len; i++) {
		uart_poll_out(uart_dev, buf[i]);
	}
}

int uart_init(void)
{
	char tx_buf[MSG_SIZE];

	if (!device_is_ready(uart_dev)) {
		LOG_ERR("UART is not ready");
		return -1;
	}

	int ret = uart_irq_callback_user_data_set(uart_dev, serial_cb, NULL);

	if (ret < 0) {
		if (ret == -ENOTSUP) {
			LOG_ERR("Interrupt-driven UART API support not enabled");
		} else if (ret == -ENOSYS) {
			LOG_ERR("UART device does not support interrupt-driven API");
		} else {
			LOG_ERR("Error setting UART callback: %d", ret);
		}
		return ret;
	}

	print_uart("Hello! I'm your echo bot.\r\n");

	uart_irq_rx_enable(uart_dev);
    return ret;
}
```

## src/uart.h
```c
#ifndef __UART_H__
#define __UART_H__

#define MSG_SIZE 128
extern struct k_msgq uart_msgq;

int uart_init(void);

#endif /* __UART_H__ */
```

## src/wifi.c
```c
#include <zephyr/kernel.h>
#include <zephyr/logging/log.h>
#include <zephyr/net/wifi_mgmt.h>
#include <zephyr/net/net_if.h>
#include <zephyr/net/net_event.h>

#include "wifi.h"


static struct net_mgmt_event_callback wifi_cb;
static struct net_mgmt_event_callback ipv4_cb;

static K_SEM_DEFINE(sem_wifi, 0, 1);
static K_SEM_DEFINE(sem_ipv4, 0, 1);

LOG_MODULE_REGISTER(wifi, CONFIG_LOG_DEFAULT_LEVEL);

static void wifi_event_handler(struct net_mgmt_event_callback *cb,
                               uint64_t mgmt_event, struct net_if *iface)
{
    const struct wifi_status *status = (const struct wifi_status *)cb->info;

    if (mgmt_event == NET_EVENT_WIFI_CONNECT_RESULT) {
        if (status->conn_status) {
            LOG_ERR("WiFi connection failed: %s (%d)",
                    wifi_conn_status_txt(status->conn_status),
                    status->conn_status);
        } else {
            LOG_INF("WiFi connected");
            k_sem_give(&sem_wifi);
        }
    } else if (mgmt_event == NET_EVENT_WIFI_DISCONNECT_RESULT) {
        LOG_INF("WiFi disconnected, reason: %d", status->disconn_reason);
        k_sem_take(&sem_wifi, K_NO_WAIT);
    }
}

static void ipv4_event_handler(struct net_mgmt_event_callback *cb,
                               uint64_t mgmt_event, struct net_if *iface)
{
    if (mgmt_event == NET_EVENT_IPV4_ADDR_ADD) {
        k_sem_give(&sem_ipv4);

//        struct net_if_ipv4 *ipv4 = iface->config.ip.ipv4;
//
//        if (ipv4) {
//            char addr_str[NET_IPV4_ADDR_LEN];
//
//            for (int i = 0; i < NET_IF_MAX_IPV4_ADDR; i++) {
//                if (ipv4->unicast[i].ipv4.is_used) {
//                    net_addr_ntop(AF_INET,
//                                  &ipv4->unicast[i].ipv4.address.in_addr,
//                                  addr_str, sizeof(addr_str));
//                    LOG_INF("IP Address: %s", addr_str);
//                }
//            }
//        }
    }
}


void wifi_init(void) {
    net_mgmt_init_event_callback(&wifi_cb, wifi_event_handler,
                                 NET_EVENT_WIFI_CONNECT_RESULT |
                                 NET_EVENT_WIFI_DISCONNECT_RESULT);
    net_mgmt_add_event_callback(&wifi_cb);

    net_mgmt_init_event_callback(&ipv4_cb, ipv4_event_handler,
                                 NET_EVENT_IPV4_ADDR_ADD);
    net_mgmt_add_event_callback(&ipv4_cb);
}

int wifi_connect(void) {
    int error = 0;
    struct net_if *iface = NULL;
    struct wifi_connect_req_params params = { 0 };

    iface = net_if_get_default();
    if (iface == NULL) {
        return -1;
    }

    params.ssid = CONFIG_WIFI_SSID,
    params.ssid_length = strlen(CONFIG_WIFI_SSID),
    params.psk = CONFIG_WIFI_PSK,
    params.psk_length = strlen(CONFIG_WIFI_PSK),
    params.channel = WIFI_CHANNEL_ANY,
    params.band = WIFI_FREQ_BAND_2_4_GHZ,
    params.security = WIFI_SECURITY_TYPE_PSK,
    params.mfp = WIFI_MFP_OPTIONAL;

    error = net_mgmt(NET_REQUEST_WIFI_CONNECT, iface, &params, sizeof(params));
    if (error) {
        return -1;
    }

    /* wait 10 seconds */
    error = k_sem_take(&sem_wifi, K_MSEC(10000));
    if (error) {
        return -1;
    }

    return 0;
}

int wifi_wait_for_ip_addr(void) {
    struct wifi_iface_status status = { 0 };
    struct net_if *iface = NULL;
    char ip_addr[NET_IPV4_ADDR_LEN] = { 0 };
    char gw_addr[NET_IPV4_ADDR_LEN] = { 0 };
    int error = 0;

    // Get interface
    iface = net_if_get_default();
    if (iface == NULL) {
        return -1;
    }

    /* wait 10 seconds */
    error = k_sem_take(&sem_ipv4, K_MSEC(10000));
    if (error) {
        return -1;
    }

    // Get the WiFi status
    if (net_mgmt(NET_REQUEST_WIFI_IFACE_STATUS,
                 iface,
                 &status,
                 sizeof(struct wifi_iface_status))) {
        printk("Error: WiFi status request failed\n");
        return -1;
    }

    // Get the IP address
    memset(ip_addr, 0, sizeof(ip_addr));
    if (net_addr_ntop(AF_INET,
                      &iface->config.ip.ipv4->unicast[0].ipv4.address.in_addr,
                      ip_addr,
                      sizeof(ip_addr)) == NULL) {
        printk("Error: Could not convert IP address to string\n");
        return -1;
    }

    // Get the gateway address
    memset(gw_addr, 0, sizeof(gw_addr));
    if (net_addr_ntop(AF_INET,
                      &iface->config.ip.ipv4->gw,
                      gw_addr,
                      sizeof(gw_addr)) == NULL) {
        printk("Error: Could not convert gateway address to string\n");
        return -1;
    }

    // Print the WiFi status
    printk("WiFi status:\n");
    if (status.state >= WIFI_STATE_ASSOCIATED) {
        printk("  SSID: %-32s\n", status.ssid);
        printk("  Band: %s\n", wifi_band_txt(status.band));
        printk("  Channel: %d\n", status.channel);
        printk("  Security: %s\n", wifi_security_txt(status.security));
        printk("  IP address: %s\n", ip_addr);
        printk("  Gateway: %s\n", gw_addr);
    }

    return 0;
}

int wifi_disconnect(void) {
    return net_mgmt(
            NET_REQUEST_WIFI_DISCONNECT,
            net_if_get_default(),
            NULL,
            0);
}
```

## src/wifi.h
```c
#ifndef _WIFI_H
#define _WIFI_H

void wifi_init(void);
int wifi_connect(void);
int wifi_wait_for_ip_addr(void);
int wifi_disconnect(void);

#endif /* _WIFI_H */
```
